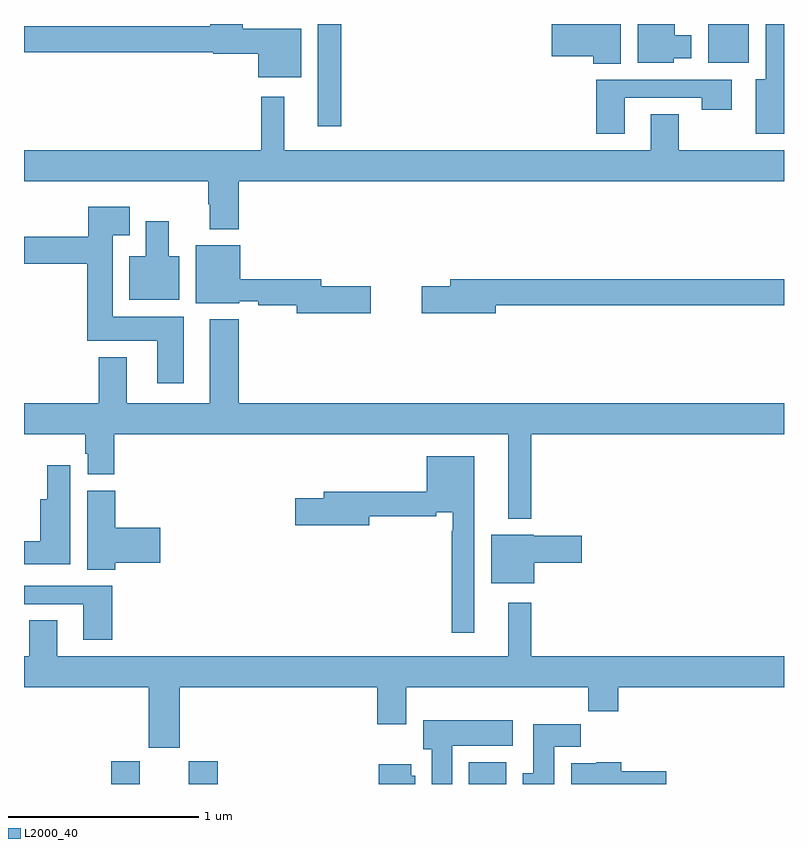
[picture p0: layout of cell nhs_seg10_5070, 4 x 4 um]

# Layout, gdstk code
import gdstk
lib = gdstk.Library(unit=1e-6, precision=1e-09)
def R(c, l, rs):  # rectangles x0, y0, x1, y1
    for r in rs: c.add(gdstk.rectangle(r[:2], r[2:], *l))
def P(c, l, *ps):  # polygons
    for p in ps: c.add(gdstk.Polygon(p, *l))
L2000_40 = (2000, 40)

nhs_seg10_5070 = lib.new_cell('nhs_seg10_5070')
R(nhs_seg10_5070, L2000_40, [(405.458,1274.5,405.61,1274.619), (405.866,1274.5,406.019,1274.619), (407.342,1274.5,407.539,1274.614), (406.547,1277.961,406.669,1278.5), (408.602,1278.296,408.814,1278.5)])
P(nhs_seg10_5070, L2000_40, [(409,1278.5),(408.905,1278.5),(408.905,1278.208),(408.851,1278.208),(408.851,1277.922),(409,1277.922)],
  [(408.142,1278.5),(407.778,1278.5),(407.778,1278.329),(407.996,1278.329),(407.996,1278.292),(408.142,1278.292)],
  [(408.42,1278.32),(408.511,1278.32),(408.511,1278.442),(408.424,1278.442),(408.424,1278.5),(408.23,1278.5),(408.23,1278.296),(408.42,1278.296)],
  [(406.459,1278.475),(406.15,1278.475),(406.15,1278.5),(405.98,1278.5),(405.98,1278.488),(405,1278.488),(405,1278.352),(405.996,1278.352),(405.996,1278.344),(406.232,1278.344),(406.232,1278.221),(406.459,1278.221)],
  [(408.163,1278.111),(408.568,1278.111),(408.568,1278.048),(408.724,1278.048),(408.724,1278.207),(408.011,1278.207),(408.011,1277.922),(408.163,1277.922)],
  [(406.13,1277.672),(409,1277.672),(409,1277.836),(408.447,1277.836),(408.447,1278.026),(408.299,1278.026),(408.299,1277.836),(406.369,1277.836),(406.369,1278.118),(406.248,1278.118),(406.248,1277.836),(405,1277.836),(405,1277.672),(405.97,1277.672),(405.97,1277.552),(405.977,1277.552),(405.977,1277.42),(406.13,1277.42)],
  [(405.841,1276.96),(405.466,1276.96),(405.466,1277.387),(405.556,1277.387),(405.556,1277.539),(405.337,1277.539),(405.337,1277.379),(405,1277.379),(405,1277.237),(405.332,1277.237),(405.332,1276.832),(405.701,1276.832),(405.701,1276.608),(405.841,1276.608)],
  [(405.817,1277.278),(405.763,1277.278),(405.763,1277.461),(405.641,1277.461),(405.641,1277.278),(405.554,1277.278),(405.554,1277.048),(405.817,1277.048)],
  [(406.825,1277.12),(406.564,1277.12),(406.564,1277.156),(406.138,1277.156),(406.138,1277.335),(405.905,1277.335),(405.905,1277.03),(406.134,1277.03),(406.134,1277.04),(406.234,1277.04),(406.234,1277.02),(406.436,1277.02),(406.436,1276.978),(406.825,1276.978)],
  [(407.482,1277.02),(409,1277.02),(409,1277.156),(407.243,1277.156),(407.243,1277.12),(407.094,1277.12),(407.094,1276.978),(407.482,1276.978)],
  [(407.671,1276.34),(409,1276.34),(409,1276.504),(406.13,1276.504),(406.13,1276.945),(405.977,1276.945),(405.977,1276.504),(405.541,1276.504),(405.541,1276.747),(405.394,1276.747),(405.394,1276.504),(405,1276.504),(405,1276.34),(405.323,1276.34),(405.323,1276.239),(405.335,1276.239),(405.335,1276.129),(405.476,1276.129),(405.476,1276.34),(407.549,1276.34),(407.549,1275.896),(407.671,1275.896)],
  [(407.371,1276.225),(407.12,1276.225),(407.12,1276.039),(406.577,1276.039),(406.577,1276.005),(406.428,1276.005),(406.428,1275.863),(406.816,1275.863),(406.816,1275.91),(407.171,1275.91),(407.171,1275.93),(407.257,1275.93),(407.257,1275.833),(407.25,1275.833),(407.25,1275.297),(407.371,1275.297)],
  [(405.244,1276.177),(405.122,1276.177),(405.122,1276),(405.086,1276),(405.086,1275.778),(405,1275.778),(405,1275.656),(405.244,1275.656)],
  [(405.479,1275.665),(405.718,1275.665),(405.718,1275.848),(405.479,1275.848),(405.479,1276.044),(405.332,1276.044),(405.332,1275.628),(405.479,1275.628)],
  [(407.686,1275.664),(407.935,1275.664),(407.935,1275.806),(407.682,1275.806),(407.682,1275.811),(407.459,1275.811),(407.459,1275.557),(407.686,1275.557)],
  [(405.464,1275.543),(405,1275.543),(405,1275.447),(405.311,1275.447),(405.311,1275.258),(405.464,1275.258)],
  [(405.82,1275.008),(406.859,1275.008),(406.859,1274.814),(407.011,1274.814),(407.011,1275.008),(407.971,1275.008),(407.971,1274.884),(408.128,1274.884),(408.128,1275.008),(409,1275.008),(409,1275.172),(407.671,1275.172),(407.671,1275.454),(407.549,1275.454),(407.549,1275.172),(405.175,1275.172),(405.175,1275.362),(405.028,1275.362),(405.028,1275.172),(405,1275.172),(405,1275.008),(405.656,1275.008),(405.656,1274.691),(405.82,1274.691)],
  [(407.254,1274.702),(407.572,1274.702),(407.572,1274.836),(407.102,1274.836),(407.102,1274.682),(407.147,1274.682),(407.147,1274.5),(407.254,1274.5)],
  [(407.791,1274.696),(407.93,1274.696),(407.93,1274.815),(407.681,1274.815),(407.681,1274.556),(407.624,1274.556),(407.624,1274.5),(407.791,1274.5)],
  [(408.379,1274.568),(408.143,1274.568),(408.143,1274.614),(408.012,1274.614),(408.012,1274.608),(407.879,1274.608),(407.879,1274.5),(408.379,1274.5)],
  [(407.059,1274.544),(407.038,1274.544),(407.038,1274.605),(406.868,1274.605),(406.868,1274.5),(407.059,1274.5)])

lib.write_gds('nhs_seg10_5070.gds')
